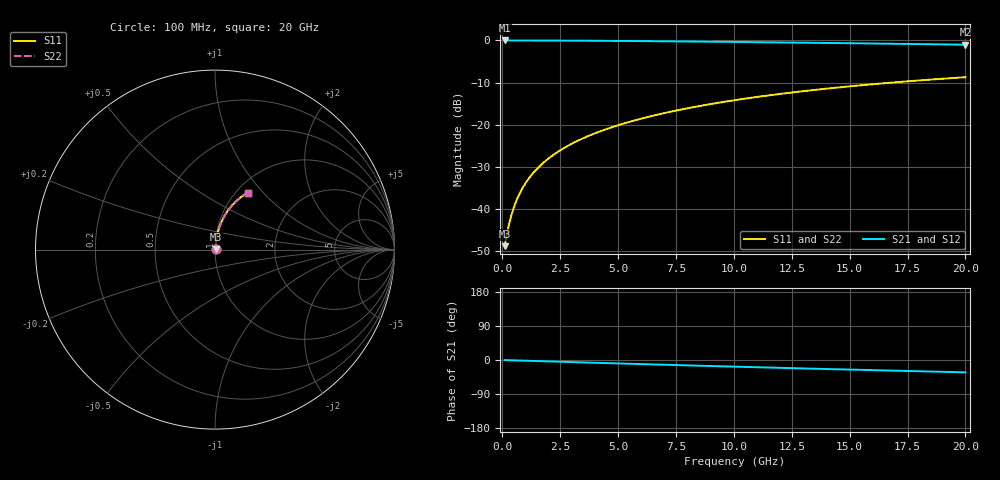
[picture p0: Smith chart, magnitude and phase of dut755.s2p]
! Touchstone file exported from HFSS 2024.1.0
!  File:  C:/UserFiles/LocalFiles/RDL_TSV_Batchsim/temp_RDL_top_755_1779851975.aedt
!  Generated:  11:21:49 AM May 27, 2026
!  Design:  RDL_top
!  Project:  temp_RDL_top_755_1779851975
!  Setup:  Setup1
!  Solution:  Sweep
! Variables:
!  dtsv = 10.80580581um
!  hbump = 3um
!  htsv = 67.49um
!  ldown = 100um
!  lrdl = 435.28um
!  p = 40
!  p1 = 41.44um
!  rhole = 1um
!  t = 450um
!  tdown = 3.915915916um
!  trdl = 4.23um
!  wdown = 15.38538539um
!  wrdl = 12.47um
# GHz S MA R 50.000000
! Terminal data exported
! Port[1] = Box2_T1
! Port[2] = Box2_T2
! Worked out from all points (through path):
!   200 points, 100 MHz to 20 GHz, reference 50 ohm
!   highest |S21| = -0.03 dB at 100 MHz (marker M1); lowest = -1.0 dB at 20 GHz (marker M2)
!   group delay of S21, straight-line fit = 4.51 ps
!   lowest |S11| = -48.7 dB at 100 MHz (marker M3), VSWR 1.01, Z = 50.3 + j0.209 ohm
!   |S11| at or under -10 dB: start of sweep to 16.83 GHz
!   |S22| runs from -48.7 to -8.7 dB; largest |S21 - S12| = 1.9e-15
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0.1  0.003655 34.6  0.997 -0.2  0.997 -0.2  0.003655 34.6
! Gamma 0 0 0 0
! Port Impedance 50 0 50 0
0.2  0.005091 52.9  0.9969 -0.4  0.9969 -0.4  0.005089 52.9
0.3  0.006802 62.7  0.9968 -0.6  0.9968 -0.6  0.006801 62.7
0.4  0.008638 68.5  0.9967 -0.8  0.9967 -0.8  0.008637 68.5
0.5  0.01053 72.1  0.9966 -0.9  0.9966 -0.9  0.01053 72.2
0.6  0.01246 74.6  0.9965 -1.1  0.9965 -1.1  0.01246 74.6
0.8  0.01637 77.7  0.9963 -1.5  0.9963 -1.5  0.01637 77.7
1.1  0.02227 80.1  0.9959 -2.1  0.9959 -2.1  0.02228 80.1
1.5  0.03016 81.5  0.9954 -2.8  0.9954 -2.8  0.03017 81.5
1.8  0.03608 82.0  0.9949 -3.3  0.9949 -3.3  0.03608 82.0
2.1  0.04198 82.3  0.9943 -3.9  0.9943 -3.9  0.04198 82.3
2.7  0.05377 82.3  0.9928 -5.0  0.9928 -5.0  0.05377 82.3
3.5  0.06945 82.0  0.9904 -6.4  0.9904 -6.4  0.06946 82.0
4.2  0.08316 81.4  0.988 -7.7  0.988 -7.7  0.08316 81.4
5  0.0988 80.6  0.9847 -9.1  0.9847 -9.1  0.0988 80.6
5.9  0.1163 79.6  0.9806 -10.7  0.9806 -10.7  0.1163 79.6
6.8  0.1338 78.5  0.9762 -12.2  0.9762 -12.2  0.1338 78.5
8.3  0.1627 76.6  0.968 -14.8  0.968 -14.8  0.1627 76.6
10.1  0.1969 74.1  0.9573 -17.7  0.9573 -17.7  0.1969 74.1
13.4  0.2574 69.4  0.9359 -22.9  0.9359 -22.9  0.2574 69.5
16.7  0.3141 64.7  0.9127 -27.9  0.9127 -27.9  0.3141 64.7
20  0.3662 60.1  0.8884 -32.6  0.8884 -32.6  0.3663 60.1
